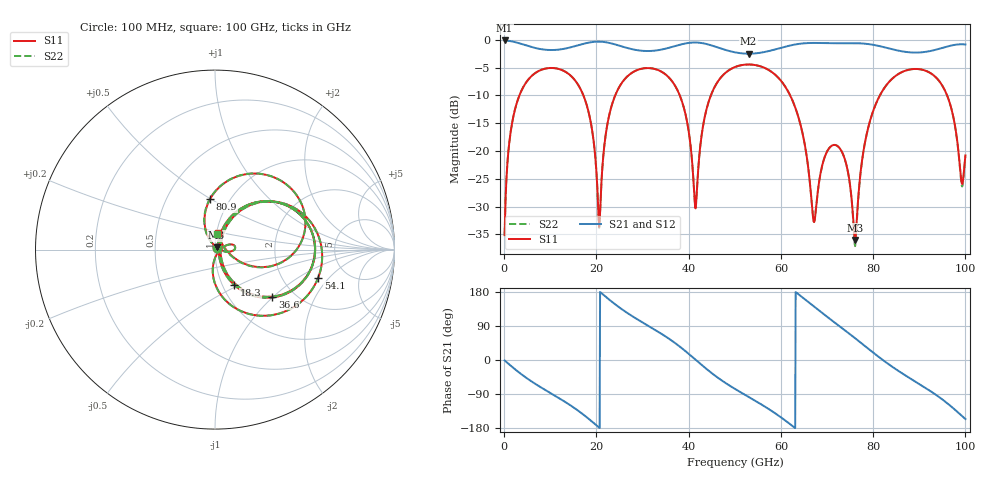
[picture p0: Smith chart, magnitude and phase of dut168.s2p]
! Touchstone file exported from HFSS 2026.1.0
!  File:  C:/ffzhzh/LocalFiles/Ansys_Project_Files/temp_test_TSV_RDL_168_1783467120_7600.aedt
!  Generated:  07:43:17 AM Jul  8, 2026
!  Design:  TSV_RDL
!  Project:  temp_test_TSV_RDL_168_1783467120_7600
! Variables:
!  h_bsmrdl = 3.77um
!  h_ox = 20um
!  h_rdl = 5um
!  h_sub = 75.09um
!  h_tmrdl = 2.8um
!  h_tsv = 75.09um
!  h_via = 3um
!  l_bsmrdl = 494.35um
!  l_sub = 2923.42um
!  l_tmrdl = 225.24um
!  m_sub = 200um
!  pitch = 54.69um
!  r_tsv = 7.24um
!  s_tmrdl = 10um
!  w_bsmrdl = 21.11um
!  w_sub = 500um
!  w_tmrdl = 25.36um
!  x_tsv_center1 = 237.92um
!  x_tsv_center2 = 753.38um
!  x_tsv_center3 = 1003.98um
!  x_tsv_center4 = 1519.44um
!  x_tsv_center5 = 1770.04um
!  x_tsv_center6 = 2285.5um
# GHz S MA R 50.000000
! Terminal data exported
! Port[1] = TM_RDL1_1_T1
! Port[2] = TM_RDL5_1_T1
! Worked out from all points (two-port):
!   1000 points, 100 MHz to 100 GHz, reference 50 ohm
!   highest |S21| = -0.12 dB at 100 MHz (marker M1); lowest = -2.5 dB at 53 GHz (marker M2)
!   |S21| within 3 dB of the highest: start of sweep to end of sweep
!   lowest |S11| = -36.0 dB at 76.1 GHz (marker M3), VSWR 1.03, Z = 50.9 + j1.32 ohm
!   |S11| at or under -10 dB: 17.18 GHz to 24.08 GHz (6.903 GHz wide, 33.5 % of centre); 38.07 GHz to 44.82 GHz (6.745 GHz wide, 16.3 % of centre); 62 GHz to 81.46 GHz (19.46 GHz wide, 27.1 % of centre) (the widest 3 of 5)
!   |S22| runs from -37.1 to -4.4 dB; largest |S21 - S12| = 1.2e-12
!   S11 on the Smith chart (normalised r, x): 100 MHz: 1.03, +0.02; 18.3 GHz: 1.14, -0.47; 36.6 GHz: 1.56, -0.99; 54.1 GHz: 3.14, -1.53; 80.9 GHz: 0.81, +0.50; 100 GHz: 1.02, +0.18
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0.1  0.01746 39.9  0.9867 -1.1  0.9867 -1.1  0.01746 39.9
! Gamma 0 0 0 0
! Port Impedance 50 0 50 0
1.6  0.1668 67.3  0.9689 -16.8  0.9689 -16.8  0.1668 67.3
4.5  0.3979 42.8  0.8977 -44.5  0.8977 -44.5  0.3979 42.7
16.8  0.3438 -49.2  0.9111 -140.6  0.9111 -140.6  0.3438 -49.3
18.3  0.2245 -61.4  0.943 -154.9  0.943 -154.9  0.2245 -61.5
20.6  0.02082 -4.1  0.9631 -178.4  0.9631 -178.4  0.02037 -4.3
24.3  0.3322 50.7  0.903 144.8  0.903 144.8  0.3322 50.8
33.4  0.5338 -15.5  0.8069 74.5  0.8069 74.5  0.5339 -15.5
36.6  0.4131 -39.3  0.8676 48.8  0.8676 48.8  0.4132 -39.3
41.5  0.03042 4.3  0.9463 0.8  0.9463 0.8  0.03095 4.0
44.4  0.2824 54.8  0.9043 -28.9  0.9043 -28.9  0.2824 54.6
50.1  0.57 11.7  0.7708 -76.7  0.7708 -76.7  0.57 11.6
53  0.5999 -7.9  0.7501 -97.4  0.7501 -97.4  0.5998 -8.0
54.1  0.5958 -15.3  0.7529 -105.2  0.7529 -105.2  0.5957 -15.4
62.6  0.2789 -79.5  0.8997 -174.9  0.8997 -174.9  0.2788 -79.7
66.7  0.0333 -78.4  0.9369 145.4  0.9369 145.4  0.03328 -78.3
72.2  0.1112 2.7  0.9312 94.0  0.9312 94.0  0.1113 2.0
76.1  0.0158 55.2  0.933 57.4  0.933 57.4  0.01391 54.8
80.9  0.2836 95.5  0.8867 11.1  0.8867 11.1  0.2834 95.9
83.4  0.4158 75.0  0.8372 -11.5  0.8372 -11.5  0.4157 75.2
93.8  0.4507 -0.6  0.8187 -93.4  0.8187 -93.4  0.4508 -0.7
100  0.09111 80.0  0.9082 -155.7  0.9082 -155.7  0.08945 81.3
